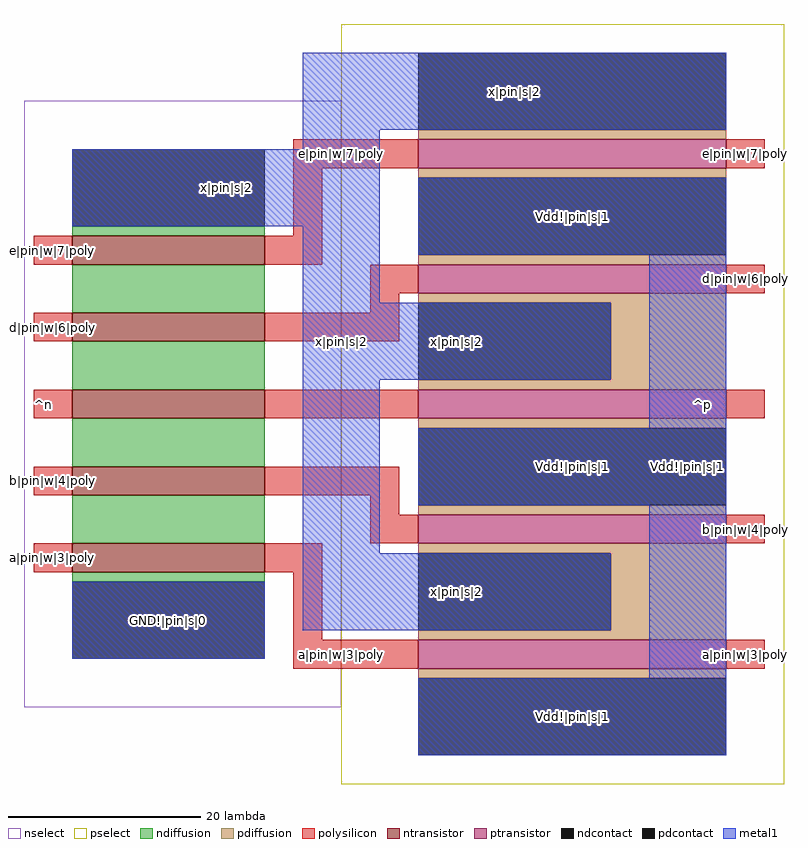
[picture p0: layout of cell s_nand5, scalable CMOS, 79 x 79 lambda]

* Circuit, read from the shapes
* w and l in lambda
.subckt s_nand5 GND!|pin|s|0 Vdd!|pin|s|1 a|pin|w|3|poly b|pin|w|4|poly c|pin|w|5|poly d|pin|w|6|poly e|pin|w|7|poly x|pin|s|2
M1 n1 a|pin|w|3|poly GND!|pin|s|0 VSUBS nfet w=20 l=3
M2 n2 b|pin|w|4|poly n1 VSUBS nfet w=20 l=3
M3 n3 c|pin|w|5|poly n2 VSUBS nfet w=20 l=3
M4 n4 d|pin|w|6|poly n3 VSUBS nfet w=20 l=3
M5 x|pin|s|2 e|pin|w|7|poly n4 VSUBS nfet w=20 l=3
M6 x|pin|s|2 a|pin|w|3|poly Vdd!|pin|s|1 NWELL pfet w=32 l=3
M7 Vdd!|pin|s|1 b|pin|w|4|poly x|pin|s|2 NWELL pfet w=32 l=3
M8 x|pin|s|2 c|pin|w|5|poly Vdd!|pin|s|1 NWELL pfet w=32 l=3
M9 Vdd!|pin|s|1 d|pin|w|6|poly x|pin|s|2 NWELL pfet w=32 l=3
M10 x|pin|s|2 e|pin|w|7|poly Vdd!|pin|s|1 NWELL pfet w=32 l=3
.ends

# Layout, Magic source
magic
tech scmos
<< nselect >>
rect -33 25 0 88
<< pselect >>
rect 0 17 46 96
<< ndiffusion >>
rect -28 74 -8 75
rect -28 66 -8 71
rect -28 58 -8 63
rect -28 50 -8 55
rect -28 42 -8 47
rect -28 38 -8 39
<< pdiffusion >>
rect 8 84 40 85
rect 8 80 40 81
rect 8 71 40 72
rect 8 67 40 68
rect 28 59 40 67
rect 8 58 40 59
rect 8 54 40 55
rect 8 45 40 46
rect 8 41 40 42
rect 28 33 40 41
rect 8 32 40 33
rect 8 28 40 29
<< ntransistor >>
rect -28 71 -8 74
rect -28 63 -8 66
rect -28 55 -8 58
rect -28 47 -8 50
rect -28 39 -8 42
<< ptransistor >>
rect 8 81 40 84
rect 8 68 40 71
rect 8 55 40 58
rect 8 42 40 45
rect 8 29 40 32
<< polysilicon >>
rect -5 81 8 84
rect 40 81 44 84
rect -5 74 -2 81
rect -32 71 -28 74
rect -8 71 -2 74
rect 3 68 8 71
rect 40 68 44 71
rect 3 66 6 68
rect -32 63 -28 66
rect -8 63 6 66
rect -32 55 -28 58
rect -8 55 8 58
rect 40 55 44 58
rect -32 47 -28 50
rect -8 47 6 50
rect 3 45 6 47
rect 3 42 8 45
rect 40 42 44 45
rect -32 39 -28 42
rect -8 39 -2 42
rect -5 32 -2 39
rect -5 29 8 32
rect 40 29 44 32
<< ndcontact >>
rect -28 75 -8 83
rect -28 30 -8 38
<< pdcontact >>
rect 8 85 40 93
rect 8 72 40 80
rect 8 59 28 67
rect 8 46 40 54
rect 8 33 28 41
rect 8 20 40 28
<< metal1 >>
rect -4 85 40 93
rect -4 83 4 85
rect -28 75 4 83
rect -4 67 4 75
rect 8 72 40 80
rect -4 59 28 67
rect -4 41 4 59
rect 32 54 40 72
rect 8 46 40 54
rect -28 30 -8 38
rect -4 33 28 41
rect 32 28 40 46
rect 8 20 40 28
<< labels >>
rlabel space -34 24 -28 89 7 ^n
rlabel space 28 17 47 96 3 ^p
rlabel metal1 -28 30 -8 38 1 GND!|pin|s|0
rlabel metal1 8 46 40 54 1 Vdd!|pin|s|1
rlabel metal1 32 20 40 80 1 Vdd!|pin|s|1
rlabel metal1 -4 33 4 93 1 x|pin|s|2
rlabel metal1 -28 75 4 83 1 x|pin|s|2
rlabel metal1 -4 85 40 93 1 x|pin|s|2
rlabel metal1 -4 59 28 67 1 x|pin|s|2
rlabel metal1 -4 33 28 41 1 x|pin|s|2
rlabel polysilicon 40 29 44 32 1 a|pin|w|3|poly
rlabel polysilicon -2 29 2 32 1 a|pin|w|3|poly
rlabel polysilicon -32 39 -28 42 1 a|pin|w|3|poly
rlabel polysilicon 40 42 44 45 1 b|pin|w|4|poly
rlabel polysilicon -32 47 -28 50 1 b|pin|w|4|poly
rlabel polysilicon 40 55 44 58 1 c|pin|w|5|poly
rlabel polysilicon -32 55 -28 58 1 c|pin|w|5|poly
rlabel polysilicon -32 63 -28 66 1 d|pin|w|6|poly
rlabel polysilicon 40 68 44 71 1 d|pin|w|6|poly
rlabel polysilicon 40 81 44 84 1 e|pin|w|7|poly
rlabel polysilicon -2 81 2 84 1 e|pin|w|7|poly
rlabel polysilicon -32 71 -28 74 1 e|pin|w|7|poly
rlabel metal1 8 72 40 80 1 Vdd!|pin|s|1
rlabel metal1 8 20 40 28 1 Vdd!|pin|s|1
<< end >>
